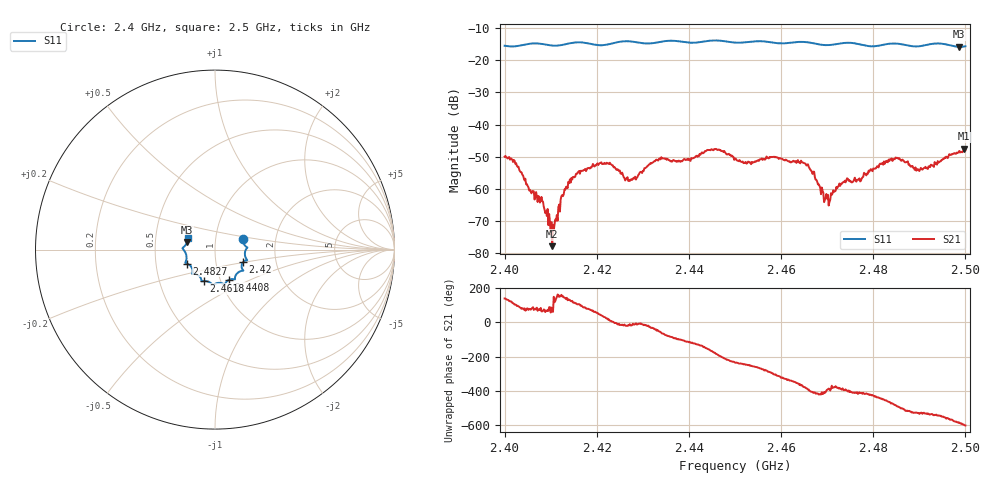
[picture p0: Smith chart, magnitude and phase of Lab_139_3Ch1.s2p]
# Hz S RI R 50
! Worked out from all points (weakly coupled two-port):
!   601 points, 2.4 GHz to 2.5 GHz, reference 50 ohm
!   highest |S21| = -47.51 dB at 2.4997 GHz (marker M1); lowest = -77.8 dB at 2.4103 GHz (marker M2)
!   lowest |S11| = -15.9 dB at 2.4987 GHz (marker M3), VSWR 1.38, Z = 36.5 + j3.22 ohm
!   |S11| at or under -10 dB: start of sweep to end of sweep
!   S12 and S22 are empty: the file has one direction only
!   S11 on the Smith chart (normalised r, x): 2.4 GHz: 1.35, +0.17; 2.42 GHz: 1.36, -0.19; 2.4408 GHz: 1.10, -0.38; 2.4618 GHz: 0.84, -0.30; 2.4827 GHz: 0.72, -0.12; 2.5 GHz: 0.73, +0.09
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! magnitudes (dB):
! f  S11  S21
! 2.4 GHz  -15.6  -50.0
! 2.4078 GHz  -14.9  -63.7
! 2.4103 GHz  -15.5  -77.8
! 2.4128 GHz  -15.2  -61.6
! 2.4167 GHz  -14.5  -54.4
! 2.42 GHz  -15.3  -52.3
! 2.423 GHz  -14.9  -52.3
! 2.4273 GHz  -14.2  -57.1
! 2.4333 GHz  -14.5  -51.2
! 2.4408 GHz  -14.6  -50.5
! 2.446 GHz  -13.9  -47.7
! 2.45 GHz  -14.6  -50.5
! 2.4618 GHz  -14.6  -51.4
! 2.4667 GHz  -14.7  -54.6
! 2.4702 GHz  -15.3  -61.8
! 2.474 GHz  -14.6  -57.9
! 2.4827 GHz  -15.1  -51.6
! 2.4833 GHz  -14.9  -50.9
! 2.4898 GHz  -15.7  -54.1
! 2.4987 GHz  -15.9  -48.2
! 2.4997 GHz  -15.8  -47.5
! 2.5 GHz  -15.7  -48.0
